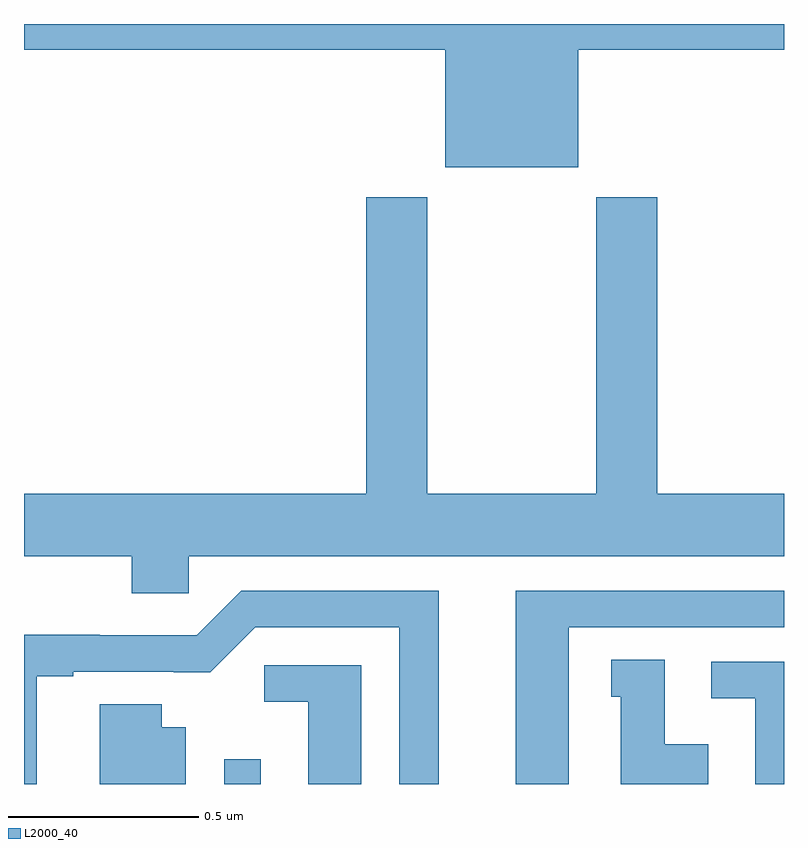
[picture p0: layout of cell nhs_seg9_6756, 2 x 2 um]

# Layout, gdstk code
import gdstk
lib = gdstk.Library(unit=1e-6, precision=1e-09)
def R(c, l, rs):  # rectangles x0, y0, x1, y1
    for r in rs: c.add(gdstk.rectangle(r[:2], r[2:], *l))
def P(c, l, *ps):  # polygons
    for p in ps: c.add(gdstk.Polygon(p, *l))
L2000_40 = (2000, 40)

nhs_seg9_6756 = lib.new_cell('nhs_seg9_6756')
R(nhs_seg9_6756, L2000_40, [(196.527,1182.5,196.623,1182.565)])
P(nhs_seg9_6756, L2000_40, [(197.458,1184.432),(198,1184.432),(198,1184.5),(196,1184.5),(196,1184.432),(197.108,1184.432),(197.108,1184.123),(197.458,1184.123)],
  [(196.434,1183.1),(198,1183.1),(198,1183.264),(197.666,1183.264),(197.666,1184.044),(197.506,1184.044),(197.506,1183.264),(197.061,1183.264),(197.061,1184.044),(196.901,1184.044),(196.901,1183.264),(196,1183.264),(196,1183.1),(196.283,1183.1),(196.283,1183.002),(196.434,1183.002)],
  [(196.033,1182.783),(196.129,1182.783),(196.129,1182.795),(196.394,1182.795),(196.394,1182.794),(196.49,1182.794),(196.608,1182.912),(196.988,1182.912),(196.988,1182.5),(197.092,1182.5),(197.092,1183.008),(196.572,1183.008),(196.455,1182.891),(196.199,1182.891),(196.199,1182.893),(196,1182.893),(196,1182.5),(196.033,1182.5)],
  [(197.434,1182.912),(198,1182.912),(198,1183.008),(197.294,1183.008),(197.294,1182.5),(197.434,1182.5)],
  [(197.8,1182.604),(197.686,1182.604),(197.686,1182.827),(197.546,1182.827),(197.546,1182.729),(197.57,1182.729),(197.57,1182.5),(197.8,1182.5)],
  [(198,1182.822),(197.808,1182.822),(197.808,1182.726),(197.924,1182.726),(197.924,1182.5),(198,1182.5)],
  [(196.888,1182.813),(196.632,1182.813),(196.632,1182.716),(196.748,1182.716),(196.748,1182.5),(196.888,1182.5)],
  [(196.426,1182.649),(196.363,1182.649),(196.363,1182.71),(196.199,1182.71),(196.199,1182.5),(196.426,1182.5)])

lib.write_gds('nhs_seg9_6756.gds')
